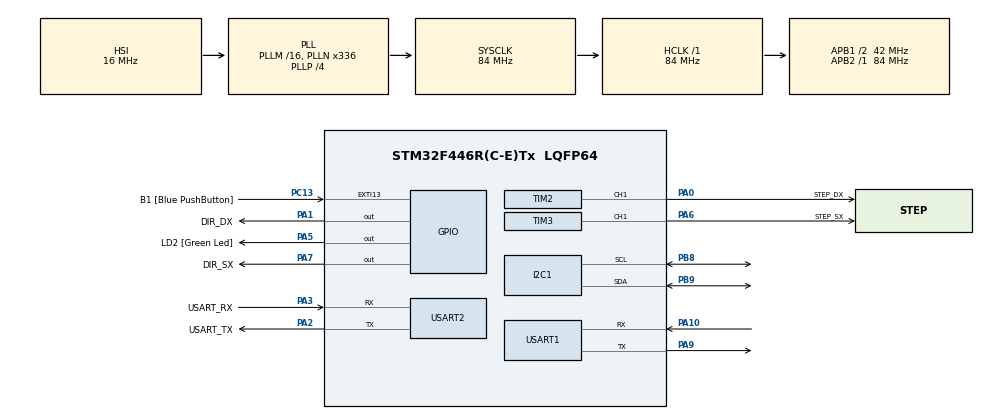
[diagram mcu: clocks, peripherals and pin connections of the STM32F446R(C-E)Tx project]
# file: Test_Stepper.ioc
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Mcu.Family=STM32F4
TIM2.Channel-Output\ Compare1\ CH1=TIM_CHANNEL_1
PH0-OSC_IN.Signal=RCC_OSC_IN
RCC.CortexFreq_Value=84000000
NVIC.TIM6_DAC_IRQn=true\:0\:0\:false\:false\:true\:true\:true
PA14.GPIO_Label=TCK
PA6.GPIO_Label=STEP_SX
PC13.GPIO_Label=B1 [Blue PushButton]
RCC.SYSCLKSource=RCC_SYSCLKSOURCE_PLLCLK
ProjectManager.StackSize=0x400
RCC.HCLKFreq_Value=84000000
RCC.APB2TimFreq_Value=84000000
TIM3.Period=99
PA1.GPIO_PuPd=GPIO_PULLDOWN
RCC.AHBFreq_Value=84000000
PH0-OSC_IN.Mode=HSE-External-Oscillator
RCC.HSE_VALUE=8000000
TIM2.OC1Preload=DISABLE
PA0-WKUP.GPIO_Speed=GPIO_SPEED_FREQ_HIGH
PA6.GPIO_PuPd=GPIO_PULLUP
PC14-OSC32_IN.Mode=LSE-External-Oscillator
PA14.Mode=Serial_Wire
TIM3.Prescaler=83
NVIC.TIM2_IRQn=true\:0\:0\:false\:false\:true\:true\:true
SH.S_TIM3_CH1.0=TIM3_CH1,Output Compare1 CH1
TIM6.Period=9999
RCC.FLatency-AdvancedSettings=FLASH_LATENCY_2
PH1-OSC_OUT.Mode=HSE-External-Oscillator
PB9.Signal=I2C1_SDA
Mcu.Package=LQFP64
TIM2.Prescaler=83
PA6.Signal=S_TIM3_CH1
TIM2.OCMode_1=TIM_OCMODE_TOGGLE
USART2.VirtualMode=VM_ASYNC
PA2.GPIO_Label=USART_TX
PA10.Signal=USART1_RX
RCC.APB1TimFreq_Value=84000000
PA6.GPIO_Speed=GPIO_SPEED_FREQ_HIGH
NVIC.USART1_IRQn=true\:0\:0\:false\:false\:true\:true\:true
VP_TIM3_VS_ClockSourceINT.Mode=Internal
PA3.Signal=USART2_RX
PB3.GPIO_Label=SWO
PC15-OSC32_OUT.Mode=LSE-External-Oscillator
PA10.Mode=Asynchronous
TIM3.AutoReloadPreload=TIM_AUTORELOAD_PRELOAD_ENABLE
PC13.Signal=GPXTI13
TIM6.Prescaler=8399
VP_TIM6_VS_ClockSourceINT.Mode=Enable_Timer
RCC.APB1CLKDivider=RCC_HCLK_DIV2
PC14-OSC32_IN.Signal=RCC_OSC32_IN
NVIC.USART2_IRQn=true\:0\:0\:false\:false\:true\:true\:true
PA0-WKUP.GPIO_Label=STEP_DX
PA0-WKUP.Signal=S_TIM2_CH1_ETR
PA13.Signal=SYS_JTMS-SWDIO
PA3.Mode=Asynchronous
TIM6.AutoReloadPreload=TIM_AUTORELOAD_PRELOAD_DISABLE
PA9.Mode=Asynchronous
ProjectManager.TargetToolchain=STM32CubeIDE
PB9.Mode=I2C
PA9.Signal=USART1_TX
RCC.USBFreq_Value=168000000
PC15-OSC32_OUT.Signal=RCC_OSC32_OUT
PA7.GPIO_PuPd=GPIO_PULLDOWN
PA1.Signal=GPIO_Output
TIM3.Channel-Output\ Compare1\ CH1=TIM_CHANNEL_1
PA5.Signal=GPIO_Output
board=NUCLEO-F446RE
RCC.VCOOutputFreq_Value=336000000
NVIC.TIM3_IRQn=true\:0\:0\:false\:false\:true\:true\:true
RCC.APB2Freq_Value=84000000
TIM3.OCMode_1=TIM_OCMODE_TOGGLE
VP_TIM2_VS_ClockSourceINT.Mode=Internal
PA1.GPIO_Label=DIR_DX
TIM6.TIM_MasterOutputTrigger=TIM_TRGO_RESET
PH1-OSC_OUT.Signal=RCC_OSC_OUT
TIM2.Pulse-Output\ Compare1\ CH1=0
TIM2.Period=99
PA13.Mode=Serial_Wire
Mcu.Name=STM32F446R(C-E)Tx
PA2.Signal=USART2_TX
PA13.GPIO_Label=TMS
RCC.48MHZClocksFreq_Value=84000000
PB3.Signal=SYS_JTDO-SWO
RCC.SYSCLKFreq_VALUE=84000000
PA7.GPIO_Label=DIR_SX
PA5.GPIO_Label=LD2 [Green Led]
PC13.GPIO_ModeDefaultEXTI=GPIO_MODE_IT_FALLING
USART1.VirtualMode=VM_ASYNC
SH.S_TIM2_CH1_ETR.0=TIM2_CH1,Output Compare1 CH1
PA14.Signal=SYS_JTCK-SWCLK
ProjectManager.HeapSize=0x200
RCC.HSI_VALUE=16000000
RCC.PLLP=RCC_PLLP_DIV4
NVIC.PriorityGroup=NVIC_PRIORITYGROUP_0
PB8.Mode=I2C
RCC.PLLN=336
PA2.Mode=Asynchronous
PB8.Signal=I2C1_SCL
TIM2.AutoReloadPreload=TIM_AUTORELOAD_PRELOAD_ENABLE
PA0-WKUP.GPIO_PuPd=GPIO_PULLUP
RCC.APB1Freq_Value=42000000
PA3.GPIO_Label=USART_RX
PA7.Signal=GPIO_Output

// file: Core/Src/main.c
/* USER CODE BEGIN Header */
/**
  ******************************************************************************
  * @file           : main.c
  * @brief          : Main program body
  ******************************************************************************
  * @attention
  *
  * <h2><center>&copy; Copyright (c) 2021 STMicroelectronics.
  * All rights reserved.</center></h2>
  *
  * This software component is licensed by ST under BSD 3-Clause license,
  * the "License"; You may not use this file except in compliance with the
  * License. You may obtain a copy of the License at:
  *                        opensource.org/licenses/BSD-3-Clause
  *
  ******************************************************************************
  */
/* USER CODE END Header */
#include "main.h"

/* USER CODE BEGIN Includes */
#include "stdbool.h"
#include "stdio.h"
#include "myLib/PID.h"
#include "myLib/StepperMotor.h"
#include "myLib/MPU6050.h"
#include "math.h"
#include "arm_math.h"
/* USER CODE END Includes */

I2C_HandleTypeDef hi2c1;

TIM_HandleTypeDef htim2;
TIM_HandleTypeDef htim3;
TIM_HandleTypeDef htim6;

UART_HandleTypeDef huart1;
UART_HandleTypeDef huart2;

/* USER CODE BEGIN PV */
float pid_error, vel;
//#define steps_per_rev_motor 200
//#define microsteps_set 8
//int steps_per_rev_eff = (steps_per_rev_motor * microsteps_set * 2); // 2 perchè il periodo generato si ottiene da 2 toggle dovuti agli interrupt

//#define clk_freq 84000000
//#define prescaler 83+1
//#define counter 99+1
//#define freq_pulse (clk_freq)/((prescaler)*(counter))
//#define ms_per_pulse (2/freq_pulse)
//#define R_wheel 0.0325 // metri
//#define L_body 0.14 // metri

int clk_freq = 84000000;
int prescaler = 83+1;
int counter = 99+1;
float freq_pulse; //(clk_freq)/((prescaler)*(counter))
float s_per_pulse; // (1/freq_pulse)

//float angular_speed = steps_per_rev_eff*ms_per_pulse;
float angular_speed; // = steps_per_rev_eff*ms_per_pulse;
//float rel_speed;
int i, j, k;
//float seconds;
int j_state, k_state = 0;
uint32_t last = 0;
//float VELOCITY = 0;
//uint8_t direction;

#define STOP	 	'S'
#define GO	 		'G'
#define BACK	 	'B'
#define LEFT	 	'L'
#define RIGHT	 	'R'
#define VEL			'V'
#define TEST		'T'
#define RESET_IMU	'I'
#define IDLE	 	 0

uint8_t read_value;
volatile ITStatus UartReady = SET; // Uart READY Flag
char uart_data_buff[32]; //Fixed Size!

float VELOCITY;

/* Controller parameters */
#define PID_KP  -80.0f
#define PID_KI  -800.0f
#define PID_KD 	 -0.00015f

#define PID_TAU 0.0f	/* A larger value of tau means the signal is filtered more heavily.
							As tau approaches zero, the differentiator approaches a 'pure differentiator'
							with no filtering. */

//#define PID_LIM_MIN (-281.25f)
//#define PID_LIM_MAX  (281.25f)

#define PID_LIM_MIN 		(-281.25f) //(-375.0f)
#define PID_LIM_MAX  		(281.25f) //(375.0f)

#define PID_LIM_MIN_INT		(PID_LIM_MIN)
#define PID_LIM_MAX_INT  	(PID_LIM_MAX)

#define SAMPLE_TIME_S 		0.001f

float freq, dTime;

//float pitch, roll, yaw;
float angleX = 0.0f;
float angleY = 0.0f;

/* USER CODE END PV */

void SystemClock_Config(void);
static void MX_GPIO_Init(void);
static void MX_USART2_UART_Init(void);
static void MX_TIM2_Init(void);
static void MX_TIM3_Init(void);
static void MX_TIM6_Init(void);
static void MX_I2C1_Init(void);
static void MX_USART1_UART_Init(void);

/* USER CODE BEGIN 0 */

//void stopMotor(void);
void read_UART_input(void);
void read_UART1_input(void);

void USART2_IRQHandler(void){
	HAL_UART_IRQHandler(&huart2);
}

void USART1_IRQHandler(void){
	HAL_UART_IRQHandler(&huart1);
}

void HAL_UART_RxCpltCallback(UART_HandleTypeDef *UartHandle) {
	// Set transmission flag: transfer complete
	UartReady = SET;
}

void TIM2_IRQHandler(void) {
	j++;
	HAL_TIM_IRQHandler(&htim2);
}

void TIM3_IRQHandler(void) {
	k++;
	HAL_TIM_IRQHandler(&htim3);
}

void TIM6_DAC_IRQHandler(void) {
	HAL_TIM_IRQHandler(&htim6);
}

void HAL_TIM_PeriodElapsedCallback(TIM_HandleTypeDef *htim){
  // Check which version of the timer triggered this callback
 // if (htim == &htim6 ){
	if(htim->Instance == TIM6){
		stopMotor(&htim2,&htim3, &htim6);
		HAL_TIM_Base_Stop_IT(&htim6);
		__HAL_TIM_CLEAR_FLAG(&htim6, TIM_SR_UIF);
		__HAL_TIM_CLEAR_FLAG(&htim6, TIM_IT_UPDATE);
  }
}

void complementaryFilter(void){
	angleX = (0.97 * (angleX+Gy*(dTime/1000))) + 0.03*pitch;
	angleY = (0.97 * (angleY+Gx*(dTime/1000))) + 0.03*roll;
}

/* USER CODE END 0 */

int main(void)
{

  /* MCU Configuration--------------------------------------------------------*/

  /* Reset of all peripherals, Initializes the Flash interface and the Systick. */
  HAL_Init();

  /* USER CODE BEGIN Init */

  steps_per_rev_eff = (steps_per_rev_motor * microsteps_set * 2);

  arm_pid_instance_f32 PID;

  /* Set PID parameters */
   /* Set this for your needs */
   PID.Kp = PID_KP;        /* Proporcional */
   PID.Ki = PID_KI;        /* Integral */
   PID.Kd = PID_KD;        /* Derivative */

   /* Initialize PID system, float32_t format */
   arm_pid_init_f32(&PID, 1);

  /* Init PID controller */
  PIDController pid = { PID_KP, PID_KI, PID_KD,
                        PID_TAU,
                        PID_LIM_MIN, PID_LIM_MAX,
						PID_LIM_MIN_INT, PID_LIM_MAX_INT,
                        SAMPLE_TIME_S };

  PIDController_Init(&pid);

  /* USER CODE END Init */

  /* Configure the system clock */
  SystemClock_Config();

  /* Initialize all configured peripherals */
  MX_GPIO_Init();
  MX_USART2_UART_Init();
  MX_TIM2_Init();
  MX_TIM3_Init();
  MX_TIM6_Init();
  MX_I2C1_Init();
  MX_USART1_UART_Init();
  /* USER CODE BEGIN 2 */
  HAL_NVIC_SetPriority(USART2_IRQn, 0, 0);
  HAL_NVIC_EnableIRQ(USART2_IRQn);

  HAL_NVIC_SetPriority(USART1_IRQn, 0, 0);
  HAL_NVIC_EnableIRQ(USART1_IRQn);

  NVIC_SetPriority(TIM2_IRQn, 0);
  NVIC_EnableIRQ(TIM2_IRQn);

  NVIC_SetPriority(TIM3_IRQn, 0);
  NVIC_EnableIRQ(TIM3_IRQn);

  NVIC_SetPriority(TIM6_DAC_IRQn, 0);
  NVIC_EnableIRQ(TIM6_DAC_IRQn);

  __enable_irq();

//  HAL_TIM_Base_Start_IT(&htim6);
  HAL_TIM_Base_Stop_IT(&htim6);
  __HAL_TIM_CLEAR_FLAG(&htim6, TIM_SR_UIF);
  __HAL_TIM_CLEAR_FLAG(&htim6, TIM_IT_UPDATE);

  HAL_TIM_OC_Start_IT(&htim2, TIM_CHANNEL_1);
  HAL_TIM_OC_Start_IT(&htim3, TIM_CHANNEL_1);

  HAL_TIM_OC_Stop_IT(&htim2, TIM_CHANNEL_1);
  HAL_TIM_OC_Stop_IT(&htim3, TIM_CHANNEL_1);

  HAL_GPIO_WritePin(GPIOA, DIR_DX_Pin, GPIO_PIN_SET);
  HAL_GPIO_WritePin(GPIOA, DIR_SX_Pin, GPIO_PIN_SET);

  MPU6050_Init(&hi2c1);
  MPU6050_Calibration(&hi2c1);

  float setpoint = 0.0f;

  /* USER CODE END 2 */

  /* Infinite loop */
  while (1){

    /* USER CODE BEGIN 3 */

	dTime = HAL_GetTick() - last;
	last = HAL_GetTick();

	MPU6050_getStatus(&hi2c1);
	MPU6050_Read_Accel(&hi2c1);
	MPU6050_Read_Gyro(&hi2c1);

	//read_UART_input();
	//read_UART1_input();

//	VELOCITY = 0.6381/4;
//	setSpeed(VELOCITY);
	VELOCITY = pid.out;
	setSpeedPID(VELOCITY);

	getDirection(VELOCITY);
	setDirection(direction);

	switch(readBuf[0]){
		case STOP:
			stopMotor(&htim2,&htim3, &htim6);
			break;
		case GO:
			goForward(&htim2, &htim3, &htim6, VELOCITY, 0.1);
			break;
		case BACK:
			goBackward(&htim2, &htim3, &htim6, VELOCITY, 0.2);
			break;
		case LEFT:
			rotateL(&htim2, &htim3, &htim6, VELOCITY, M_PI/2);
			break;
		case RIGHT:
			rotateR(&htim2, &htim3, &htim6, VELOCITY, M_PI/2);
			break;
		case TEST:
			simpleGO(&htim2, &htim3);
			break;
		case RESET_IMU:
			MPU6050_reset(&hi2c1);
			break;
	}

	if(angleX > 10.0){
		readBuf[0] = STOP;
	}

	complementaryFilter();

    PIDController_Update(&pid, setpoint, angleX);	//IN: angle in deg; OUT: angular speed (deg/sec)

//    pid_error = pid.prevError;
//    vel = arm_pid_f32(&PID, pid_error);

//	sprintf(uart_data_buff, "%.2f %.2f %.2f\n", (float)angleX, (float)Gy, (float)pitch);
	sprintf(uart_data_buff, "%.2f %.f\n", angleX, VELOCITY);
	// Polling TX
	HAL_UART_Transmit(&huart2, (uint8_t *)uart_data_buff, sizeof(uart_data_buff), HAL_MAX_DELAY);

  }
  /* USER CODE END 3 */
}

void SystemClock_Config(void)
{
  RCC_OscInitTypeDef RCC_OscInitStruct = {0};
  RCC_ClkInitTypeDef RCC_ClkInitStruct = {0};

  /** Configure the main internal regulator output voltage
  */
  __HAL_RCC_PWR_CLK_ENABLE();
  __HAL_PWR_VOLTAGESCALING_CONFIG(PWR_REGULATOR_VOLTAGE_SCALE3);
  /** Initializes the RCC Oscillators according to the specified parameters
  * in the RCC_OscInitTypeDef structure.
  */
  RCC_OscInitStruct.OscillatorType = RCC_OSCILLATORTYPE_HSI;
  RCC_OscInitStruct.HSIState = RCC_HSI_ON;
  RCC_OscInitStruct.HSICalibrationValue = RCC_HSICALIBRATION_DEFAULT;
  RCC_OscInitStruct.PLL.PLLState = RCC_PLL_ON;
  RCC_OscInitStruct.PLL.PLLSource = RCC_PLLSOURCE_HSI;
  RCC_OscInitStruct.PLL.PLLM = 16;
  RCC_OscInitStruct.PLL.PLLN = 336;
  RCC_OscInitStruct.PLL.PLLP = RCC_PLLP_DIV4;
  RCC_OscInitStruct.PLL.PLLQ = 2;
  RCC_OscInitStruct.PLL.PLLR = 2;
  if (HAL_RCC_OscConfig(&RCC_OscInitStruct) != HAL_OK)
  {
    Error_Handler();
  }
  /** Initializes the CPU, AHB and APB buses clocks
  */
  RCC_ClkInitStruct.ClockType = RCC_CLOCKTYPE_HCLK|RCC_CLOCKTYPE_SYSCLK
                              |RCC_CLOCKTYPE_PCLK1|RCC_CLOCKTYPE_PCLK2;
  RCC_ClkInitStruct.SYSCLKSource = RCC_SYSCLKSOURCE_PLLCLK;
  RCC_ClkInitStruct.AHBCLKDivider = RCC_SYSCLK_DIV1;
  RCC_ClkInitStruct.APB1CLKDivider = RCC_HCLK_DIV2;
  RCC_ClkInitStruct.APB2CLKDivider = RCC_HCLK_DIV1;

  if (HAL_RCC_ClockConfig(&RCC_ClkInitStruct, FLASH_LATENCY_2) != HAL_OK)
  {
    Error_Handler();
  }
}

static void MX_I2C1_Init(void)
{

  hi2c1.Instance = I2C1;
  hi2c1.Init.ClockSpeed = 100000;
  hi2c1.Init.DutyCycle = I2C_DUTYCYCLE_2;
  hi2c1.Init.OwnAddress1 = 0;
  hi2c1.Init.AddressingMode = I2C_ADDRESSINGMODE_7BIT;
  hi2c1.Init.DualAddressMode = I2C_DUALADDRESS_DISABLE;
  hi2c1.Init.OwnAddress2 = 0;
  hi2c1.Init.GeneralCallMode = I2C_GENERALCALL_DISABLE;
  hi2c1.Init.NoStretchMode = I2C_NOSTRETCH_DISABLE;
  if (HAL_I2C_Init(&hi2c1) != HAL_OK)
  {
    Error_Handler();
  }

}

static void MX_TIM2_Init(void)
{

  TIM_ClockConfigTypeDef sClockSourceConfig = {0};
  TIM_MasterConfigTypeDef sMasterConfig = {0};
  TIM_OC_InitTypeDef sConfigOC = {0};

  htim2.Instance = TIM2;
  htim2.Init.Prescaler = 83;
  htim2.Init.CounterMode = TIM_COUNTERMODE_UP;
  htim2.Init.Period = 99;
  htim2.Init.ClockDivision = TIM_CLOCKDIVISION_DIV1;
  htim2.Init.AutoReloadPreload = TIM_AUTORELOAD_PRELOAD_ENABLE;
  if (HAL_TIM_Base_Init(&htim2) != HAL_OK)
  {
    Error_Handler();
  }
  sClockSourceConfig.ClockSource = TIM_CLOCKSOURCE_INTERNAL;
  if (HAL_TIM_ConfigClockSource(&htim2, &sClockSourceConfig) != HAL_OK)
  {
    Error_Handler();
  }
  if (HAL_TIM_OC_Init(&htim2) != HAL_OK)
  {
    Error_Handler();
  }
  sMasterConfig.MasterOutputTrigger = TIM_TRGO_RESET;
  sMasterConfig.MasterSlaveMode = TIM_MASTERSLAVEMODE_DISABLE;
  if (HAL_TIMEx_MasterConfigSynchronization(&htim2, &sMasterConfig) != HAL_OK)
  {
    Error_Handler();
  }
  sConfigOC.OCMode = TIM_OCMODE_TOGGLE;
  sConfigOC.Pulse = 0;
  sConfigOC.OCPolarity = TIM_OCPOLARITY_HIGH;
  sConfigOC.OCFastMode = TIM_OCFAST_DISABLE;
  if (HAL_TIM_OC_ConfigChannel(&htim2, &sConfigOC, TIM_CHANNEL_1) != HAL_OK)
  {
    Error_Handler();
  }
  HAL_TIM_MspPostInit(&htim2);

}

static void MX_TIM3_Init(void)
{

  TIM_ClockConfigTypeDef sClockSourceConfig = {0};
  TIM_MasterConfigTypeDef sMasterConfig = {0};
  TIM_OC_InitTypeDef sConfigOC = {0};

  htim3.Instance = TIM3;
  htim3.Init.Prescaler = 83;
  htim3.Init.CounterMode = TIM_COUNTERMODE_UP;
  htim3.Init.Period = 99;
  htim3.Init.ClockDivision = TIM_CLOCKDIVISION_DIV1;
  htim3.Init.AutoReloadPreload = TIM_AUTORELOAD_PRELOAD_ENABLE;
  if (HAL_TIM_Base_Init(&htim3) != HAL_OK)
  {
    Error_Handler();
  }
  sClockSourceConfig.ClockSource = TIM_CLOCKSOURCE_INTERNAL;
  if (HAL_TIM_ConfigClockSource(&htim3, &sClockSourceConfig) != HAL_OK)
  {
    Error_Handler();
  }
  if (HAL_TIM_OC_Init(&htim3) != HAL_OK)
  {
    Error_Handler();
  }
  sMasterConfig.MasterOutputTrigger = TIM_TRGO_RESET;
  sMasterConfig.MasterSlaveMode = TIM_MASTERSLAVEMODE_DISABLE;
  if (HAL_TIMEx_MasterConfigSynchronization(&htim3, &sMasterConfig) != HAL_OK)
  {
    Error_Handler();
  }
  sConfigOC.OCMode = TIM_OCMODE_TOGGLE;
  sConfigOC.Pulse = 0;
  sConfigOC.OCPolarity = TIM_OCPOLARITY_HIGH;
  sConfigOC.OCFastMode = TIM_OCFAST_DISABLE;
  if (HAL_TIM_OC_ConfigChannel(&htim3, &sConfigOC, TIM_CHANNEL_1) != HAL_OK)
  {
    Error_Handler();
  }
  HAL_TIM_MspPostInit(&htim3);

}

static void MX_TIM6_Init(void)
{

  TIM_MasterConfigTypeDef sMasterConfig = {0};

  htim6.Instance = TIM6;
  htim6.Init.Prescaler = 8399;
  htim6.Init.CounterMode = TIM_COUNTERMODE_UP;
  htim6.Init.Period = 9999;
  htim6.Init.AutoReloadPreload = TIM_AUTORELOAD_PRELOAD_DISABLE;
  if (HAL_TIM_Base_Init(&htim6) != HAL_OK)
  {
    Error_Handler();
  }
  sMasterConfig.MasterOutputTrigger = TIM_TRGO_RESET;
  sMasterConfig.MasterSlaveMode = TIM_MASTERSLAVEMODE_DISABLE;
  if (HAL_TIMEx_MasterConfigSynchronization(&htim6, &sMasterConfig) != HAL_OK)
  {
    Error_Handler();
  }
  /* USER CODE BEGIN TIM6_Init 2 */
  // __HAL_TIM_CLEAR_FLAG(&htim6, TIM_SR_UIF);//Add this statement to solve the problem

  /* USER CODE END TIM6_Init 2 */

}

static void MX_USART1_UART_Init(void)
{

  huart1.Instance = USART1;
  huart1.Init.BaudRate = 115200;
  huart1.Init.WordLength = UART_WORDLENGTH_8B;
  huart1.Init.StopBits = UART_STOPBITS_1;
  huart1.Init.Parity = UART_PARITY_NONE;
  huart1.Init.Mode = UART_MODE_TX_RX;
  huart1.Init.HwFlowCtl = UART_HWCONTROL_NONE;
  huart1.Init.OverSampling = UART_OVERSAMPLING_16;
  if (HAL_UART_Init(&huart1) != HAL_OK)
  {
    Error_Handler();
  }

}

static void MX_USART2_UART_Init(void)
{

  huart2.Instance = USART2;
  huart2.Init.BaudRate = 115200;
  huart2.Init.WordLength = UART_WORDLENGTH_8B;
  huart2.Init.StopBits = UART_STOPBITS_1;
  huart2.Init.Parity = UART_PARITY_NONE;
  huart2.Init.Mode = UART_MODE_TX_RX;
  huart2.Init.HwFlowCtl = UART_HWCONTROL_NONE;
  huart2.Init.OverSampling = UART_OVERSAMPLING_16;
  if (HAL_UART_Init(&huart2) != HAL_OK)
  {
    Error_Handler();
  }

}

static void MX_GPIO_Init(void)
{
  GPIO_InitTypeDef GPIO_InitStruct = {0};

  /* GPIO Ports Clock Enable */
  __HAL_RCC_GPIOC_CLK_ENABLE();
  __HAL_RCC_GPIOH_CLK_ENABLE();
  __HAL_RCC_GPIOA_CLK_ENABLE();
  __HAL_RCC_GPIOB_CLK_ENABLE();

  /*Configure GPIO pin Output Level */
  HAL_GPIO_WritePin(GPIOA, DIR_DX_Pin|LD2_Pin|DIR_SX_Pin, GPIO_PIN_RESET);

  /*Configure GPIO pin : B1_Pin */
  GPIO_InitStruct.Pin = B1_Pin;
  GPIO_InitStruct.Mode = GPIO_MODE_IT_FALLING;
  GPIO_InitStruct.Pull = GPIO_NOPULL;
  HAL_GPIO_Init(B1_GPIO_Port, &GPIO_InitStruct);

  /*Configure GPIO pins : DIR_DX_Pin DIR_SX_Pin */
  GPIO_InitStruct.Pin = DIR_DX_Pin|DIR_SX_Pin;
  GPIO_InitStruct.Mode = GPIO_MODE_OUTPUT_PP;
  GPIO_InitStruct.Pull = GPIO_PULLDOWN;
  GPIO_InitStruct.Speed = GPIO_SPEED_FREQ_LOW;
  HAL_GPIO_Init(GPIOA, &GPIO_InitStruct);

  /*Configure GPIO pin : LD2_Pin */
  GPIO_InitStruct.Pin = LD2_Pin;
  GPIO_InitStruct.Mode = GPIO_MODE_OUTPUT_PP;
  GPIO_InitStruct.Pull = GPIO_NOPULL;
  GPIO_InitStruct.Speed = GPIO_SPEED_FREQ_LOW;
  HAL_GPIO_Init(LD2_GPIO_Port, &GPIO_InitStruct);

}

/* USER CODE BEGIN 4 */
void read_UART_input() {
	if(UartReady == SET) {
		UartReady = RESET;
		HAL_UART_Receive_IT(&huart2, (uint8_t*)readBuf, 1);
		//read_value = atoi(readBuf);
	}
}

/* USER CODE BEGIN 4 */
void read_UART1_input() {
	if(UartReady == SET) {
		UartReady = RESET;
		HAL_UART_Receive_IT(&huart1, (uint8_t*)readBuf, 1);
		//read_value = atoi(readBuf);
	}
}
/* USER CODE END 4 */

void Error_Handler(void)
{
  __disable_irq();
  while (1)
  {
  }
}

/************************ (C) COPYRIGHT STMicroelectronics *****END OF FILE****/
